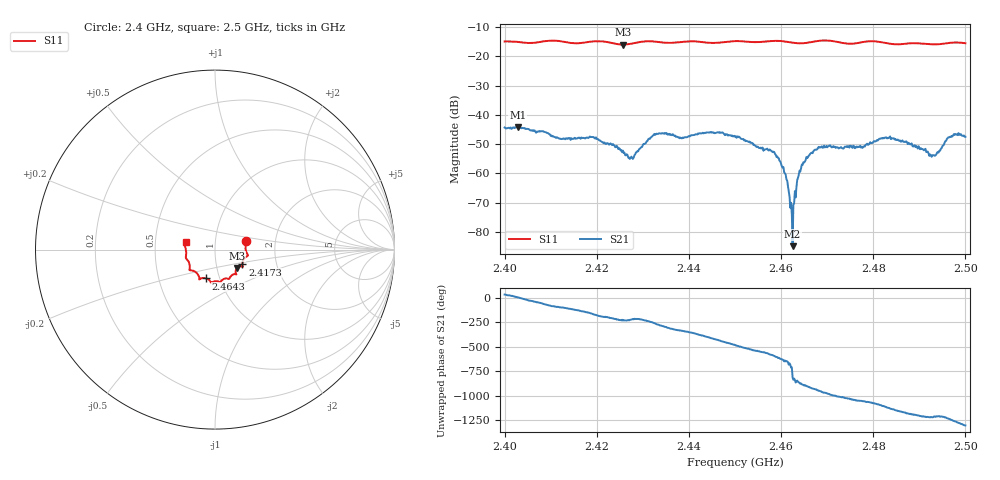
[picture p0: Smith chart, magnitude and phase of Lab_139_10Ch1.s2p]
# Hz S RI R 50
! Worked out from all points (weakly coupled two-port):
!   601 points, 2.4 GHz to 2.5 GHz, reference 50 ohm
!   highest |S21| = -44.16 dB at 2.4028 GHz (marker M1); lowest = -84.9 dB at 2.4625 GHz (marker M2)
!   lowest |S11| = -15.9 dB at 2.4257 GHz (marker M3), VSWR 1.38, Z = 62.4 - j13.1 ohm
!   |S11| at or under -10 dB: start of sweep to end of sweep
!   S12 and S22 are empty: the file has one direction only
!   S11 on the Smith chart (normalised r, x): 2.4 GHz: 1.41, +0.14; 2.4173 GHz: 1.34, -0.23; 2.4643 GHz: 0.86, -0.28; 2.5 GHz: 0.72, +0.06
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2.4e9  0.1735 0.0494  0.00526 0.00307  0 0  0 0
2.402833e9  0.1741 0.0356  0.00619 0.000126  0 0  0 0
2.412167e9  0.1788 -0.0369  -0.000675 -0.00382  0 0  0 0
2.416667e9  0.153 -0.075  -0.00311 -0.00269  0 0  0 0
2.417333e9  0.1522 -0.0825  -0.00327 -0.00231  0 0  0 0
2.4195e9  0.1538 -0.0967  -0.004 -0.000486  0 0  0 0
2.425667e9  0.1223 -0.1023  -0.00145 0.00199  0 0  0 0
2.427667e9  0.1151 -0.1208  -0.00141 0.00122  0 0  0 0
2.433333e9  0.1127 -0.1367  0.000511 0.00472  0 0  0 0
2.45e9  0.0297 -0.1808  -0.00227 -0.0036  0 0  0 0
2.459e9  -0.0215 -0.184  -0.000837 0.00173  0 0  0 0
2.460833e9  -0.0253 -0.179  0.000172 0.000985  0 0  0 0
2.462e9  -0.0294 -0.1723  0.00021 0.000153  0 0  0 0
2.4625e9  -0.0325 -0.1694  -3.53e-06 -5.68e-05  0 0  0 0
2.464333e9  -0.0503 -0.1604  -0.00109 -0.000536  0 0  0 0
2.466667e9  -0.0762 -0.1597  -0.00207 0.000904  0 0  0 0
2.470167e9  -0.0872 -0.1657  -0.000564 0.00283  0 0  0 0
2.477833e9  -0.1339 -0.1158  0.00257 0.00129  0 0  0 0
2.483333e9  -0.1407 -0.0896  0.00293 -0.00274  0 0  0 0
2.493e9  -0.1606 -0.0138  -0.0015 -0.00141  0 0  0 0
2.4965e9  -0.1691 0.0231  -0.00373 -0.0018  0 0  0 0
2.5e9  -0.1634 0.0417  -0.0032 0.00276  0 0  0 0
